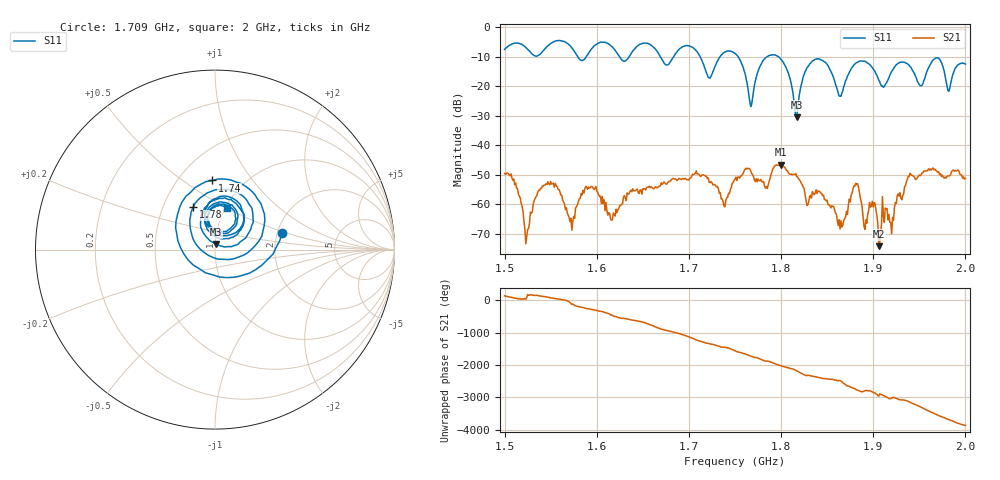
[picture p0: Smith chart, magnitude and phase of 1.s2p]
! NanoVNA-App by SYSJOINT et al v1.1.209 (+OD18)
! Date: 2026-01-21 14:27:12
! Start: 1,5GHz Stop: 2GHz Points: 501
! S-Parameter data: F S11 S21 S12 S22
# Hz S RI R 50
!  Frequency  S11_Real  S11_Imag  S21_Real  S21_Imag  S12_Real  S12_Imag  S22_Real  S22_Imag
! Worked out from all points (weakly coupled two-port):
!   501 points, 1.5 GHz to 2 GHz, reference 50 ohm
!   highest |S21| = -46.59 dB at 1.8 GHz (marker M1); lowest = -74.3 dB at 1.906 GHz (marker M2)
!   lowest |S11| = -30.5 dB at 1.817 GHz (marker M3), VSWR 1.06, Z = 50.3 + j2.99 ohm
!   |S11| at or under -10 dB: 1.712 GHz to 1.734 GHz (21.37 MHz wide, 1.24 % of centre); 1.753 GHz to 1.785 GHz (31.31 MHz wide, 1.77 % of centre); 1.797 GHz to end of sweep (the widest 3 of 6)
!   S12 and S22 are empty: the file has one direction only
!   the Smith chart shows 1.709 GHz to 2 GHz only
!   S11 on the Smith chart (normalised r, x): 1.709 GHz: 2.12, +0.46; 1.74 GHz: 0.72, +0.65; 1.78 GHz: 0.71, +0.36; 2 GHz: 1.02, +0.49
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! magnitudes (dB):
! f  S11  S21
! 1.5 GHz  -7.5  -49.6
! 1.524 GHz  -7.1  -71.1
! 1.543 GHz  -7.6  -53.5
! 1.572 GHz  -6.6  -64.8
! 1.584 GHz  -11.2  -56.9
! 1.617 GHz  -6.7  -65.3
! 1.667 GHz  -8.9  -54.0
! 1.709 GHz  -8.3  -49.8
! 1.722 GHz  -17.1  -52.6
! 1.74 GHz  -8.3  -58.8
! 1.75 GHz  -8.8  -51.5
! 1.767 GHz  -26.9  -48.7
! 1.78 GHz  -11.5  -52.5
! 1.8 GHz  -10.9  -46.6
! 1.817 GHz  -30.5  -50.6
! 1.834 GHz  -11.5  -55.8
! 1.866 GHz  -22.3  -67.8
! 1.882 GHz  -11.9  -53.4
! 1.906 GHz  -17.9  -74.3
! 1.917 GHz  -17.1  -63.5
! 1.94 GHz  -13.3  -49.5
! 2 GHz  -12.5  -51.2
